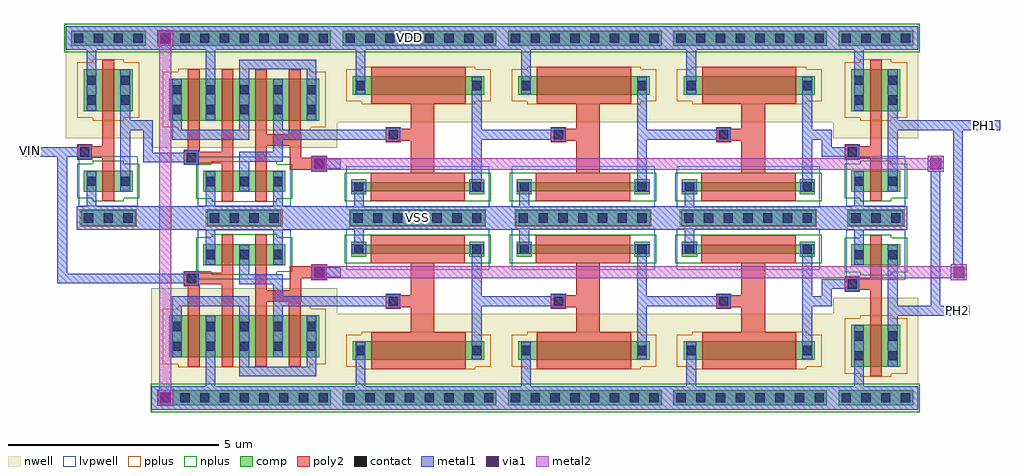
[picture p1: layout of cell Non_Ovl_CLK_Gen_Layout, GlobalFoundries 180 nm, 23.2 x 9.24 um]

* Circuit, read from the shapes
.subckt Non_Ovl_CLK_Gen_Layout PH1 PH2 VDD VIN VSS
XM1 NOR_Layout_2/A VIN VSS VSS nfet_03v3 w=0.5u l=0.28u
XM2 Inv_16x_Layout_3/IN VIN VSS VSS nfet_03v3 w=0.5u l=0.28u
XM3 Inv_16x_Layout_4/IN NOR_Layout_2/A VSS VSS nfet_03v3 w=0.5u l=0.28u
XM4 VSS PH1 Inv_16x_Layout_3/IN VSS nfet_03v3 w=0.5u l=0.28u
XM5 VSS PH2 Inv_16x_Layout_4/IN VSS nfet_03v3 w=0.5u l=0.28u
XM6 Inv_16x_Layout_5/IN Inv_16x_Layout_3/IN VSS VSS nfet_03v3 w=0.22u l=2.24u
XM7 Inv_16x_Layout_6/IN Inv_16x_Layout_4/IN VSS VSS nfet_03v3 w=0.22u l=2.24u
XM8 Inv_16x_Layout_7/IN Inv_16x_Layout_5/IN VSS VSS nfet_03v3 w=0.22u l=2.24u
XM9 Inv_16x_Layout_8/IN Inv_16x_Layout_6/IN VSS VSS nfet_03v3 w=0.22u l=2.24u
XM10 Inverter_Layout_9/IN Inv_16x_Layout_7/IN VSS VSS nfet_03v3 w=0.22u l=2.24u
XM11 Inverter_Layout_10/IN Inv_16x_Layout_8/IN VSS VSS nfet_03v3 w=0.22u l=2.24u
XM12 PH2 Inverter_Layout_9/IN VSS VSS nfet_03v3 w=0.5u l=0.28u
XM13 PH1 Inverter_Layout_10/IN VSS VSS nfet_03v3 w=0.5u l=0.28u
XM14 NOR_Layout_2/A VIN VDD VDD pfet_03v3 w=1u l=0.28u
XM15 VDD VIN NOR_Layout_1/SD1 VDD pfet_03v3 w=1u l=0.28u m=2
XM16 VDD NOR_Layout_2/A NOR_Layout_2/SD1 VDD pfet_03v3 w=1u l=0.28u m=2
XM17 Inv_16x_Layout_3/IN PH1 NOR_Layout_1/SD1 VDD pfet_03v3 w=1u l=0.28u m=2
XM18 Inv_16x_Layout_4/IN PH2 NOR_Layout_2/SD1 VDD pfet_03v3 w=1u l=0.28u m=2
XM19 Inv_16x_Layout_5/IN Inv_16x_Layout_3/IN VDD VDD pfet_03v3 w=0.44u l=2.24u
XM20 Inv_16x_Layout_6/IN Inv_16x_Layout_4/IN VDD VDD pfet_03v3 w=0.44u l=2.24u
XM21 Inv_16x_Layout_7/IN Inv_16x_Layout_5/IN VDD VDD pfet_03v3 w=0.44u l=2.24u
XM22 Inv_16x_Layout_8/IN Inv_16x_Layout_6/IN VDD VDD pfet_03v3 w=0.44u l=2.24u
XM23 Inverter_Layout_9/IN Inv_16x_Layout_7/IN VDD VDD pfet_03v3 w=0.44u l=2.24u
XM24 Inverter_Layout_10/IN Inv_16x_Layout_8/IN VDD VDD pfet_03v3 w=0.44u l=2.24u
XM25 PH2 Inverter_Layout_9/IN VDD VDD pfet_03v3 w=1u l=0.28u
XM26 PH1 Inverter_Layout_10/IN VDD VDD pfet_03v3 w=1u l=0.28u
.ends

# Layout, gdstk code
import gdstk
lib = gdstk.Library(unit=1e-6, precision=1e-09)
def R(c, l, rs):  # rectangles x0, y0, x1, y1
    for r in rs: c.add(gdstk.rectangle(r[:2], r[2:], *l))
def A(c, l, x, y, w, h, nx, ny, dx, dy):  # array of equal rectangles
    R(c, l, [(x+i*dx, y+j*dy, x+i*dx+w, y+j*dy+h) for i in range(nx) for j in range(ny)])
nwell = (21, 0)
comp = (22, 0)
poly2 = (30, 0)
pplus = (31, 0)
nplus = (32, 0)
contact = (33, 0)
metal1 = (34, 0)
via1 = (35, 0)
metal2 = (36, 0)
lvpwell = (204, 0)

pmos_3p3_mnvuar = lib.new_cell('pmos_3p3_MNVUAR')
R(pmos_3p3_mnvuar, nwell, [(-1.01,-1.15,1.01,1.15)])
R(pmos_3p3_mnvuar, comp, [(-0.58,-0.5,0.58,0.5)])
R(pmos_3p3_mnvuar, poly2, [(-0.14,-0.72,0.14,0.72)])
R(pmos_3p3_mnvuar, pplus, [(-0.37,-0.73,0.37,-0.66), (-0.74,-0.66,0.74,0.66), (-0.37,0.66,0.37,0.73)])
R(pmos_3p3_mnvuar, contact, [(-0.51,-0.345,-0.29,-0.125), (0.29,-0.345,0.51,-0.125), (-0.51,0.125,-0.29,0.345), (0.29,0.125,0.51,0.345)])
R(pmos_3p3_mnvuar, metal1, [(-0.515,-0.49,-0.285,0.49), (0.285,-0.49,0.515,0.49)])

nfet_03v3_nulyt4 = lib.new_cell('nfet_03v3_NULYT4')
R(nfet_03v3_nulyt4, comp, [(-0.58,-0.25,0.58,0.25)])
R(nfet_03v3_nulyt4, poly2, [(-0.14,-0.47,0.14,0.47)])
R(nfet_03v3_nulyt4, nplus, [(-0.37,-0.48,0.37,-0.41), (-0.74,-0.41,0.74,0.41), (-0.37,0.41,0.37,0.48)])
R(nfet_03v3_nulyt4, contact, [(-0.51,-0.11,-0.29,0.11), (0.29,-0.11,0.51,0.11)])
R(nfet_03v3_nulyt4, metal1, [(-0.515,-0.24,-0.285,0.24), (0.285,-0.24,0.515,0.24)])
R(nfet_03v3_nulyt4, lvpwell, [(-0.7,-0.59,0.7,0.59)])

inverter_layout = lib.new_cell('Inverter_Layout')
R(inverter_layout, nwell, [(-0.31,3.655,1.71,4.28)])
R(inverter_layout, comp, [(0.05,-0.52,1.35,-0.16), (-0.185,3.755,1.585,4.115)])
R(inverter_layout, poly2, [(0.56,0.865,0.84,1.09), (-0.04,1.05,0.32,1.09), (-0.04,1.09,0.84,1.37), (-0.04,1.37,0.32,1.41), (0.56,1.37,0.84,2.23)])
R(inverter_layout, pplus, [(0.02,-0.55,1.38,-0.13)])
R(inverter_layout, nplus, [(-0.345,3.595,1.745,4.275)])
A(inverter_layout, contact, 0.12, -0.45, 0.22, 0.22, 3, 1, 0.47, 0)
A(inverter_layout, contact, -0.115, 3.825, 0.22, 0.22, 4, 1, 0.47, 0)
R(inverter_layout, contact, [(0.03,1.12,0.25,1.34)])
R(inverter_layout, metal1, [(-0.05,-0.62,1.45,-0.06), (0.185,-0.06,0.415,0.49), (0.985,0.705,1.215,1.75), (-0.03,1.06,0.31,1.115), (-0.3,1.115,0.31,1.345), (-0.03,1.345,0.31,1.4), (0.985,1.75,1.7,1.98), (0.985,1.98,1.215,2.35), (0.185,3.045,0.415,3.655), (-0.31,3.655,1.71,4.215)])
inverter_layout.add(gdstk.Reference(pmos_3p3_mnvuar, (0.7,2.7)))
inverter_layout.add(gdstk.Reference(nfet_03v3_nulyt4, (0.7,0.535)))
inverter_layout.add(gdstk.Label('IN', (-0.2,1.23), layer=34, texttype=10))
inverter_layout.add(gdstk.Label('OUT', (1.395,1.865), layer=34, texttype=10))
inverter_layout.add(gdstk.Label('VSS', (0.7,-0.34), layer=22, texttype=0))
inverter_layout.add(gdstk.Label('VDD', (0.7,3.95), layer=34, texttype=10))

pmos_3p3_mevuar = lib.new_cell('pmos_3p3_MEVUAR')
R(pmos_3p3_mevuar, nwell, [(-1.41,-1.15,1.41,1.15)])
R(pmos_3p3_mevuar, comp, [(-0.98,-0.5,0.98,0.5)])
R(pmos_3p3_mevuar, poly2, [(-0.54,-0.72,-0.26,0.72), (0.26,-0.72,0.54,0.72)])
R(pmos_3p3_mevuar, pplus, [(-0.77,-0.73,0.77,-0.66), (-1.14,-0.66,1.14,0.66), (-0.77,0.66,0.77,0.73)])
A(pmos_3p3_mevuar, contact, -0.91, -0.345, 0.22, 0.22, 3, 2, 0.8, 0.47)
A(pmos_3p3_mevuar, metal1, -0.915, -0.49, 0.23, 0.98, 3, 1, 0.8, 0)

nmos_3p3_gggst2_0 = lib.new_cell('nmos_3p3_GGGST2#0')
R(nmos_3p3_gggst2_0, comp, [(-0.58,-0.25,0.58,0.25)])
R(nmos_3p3_gggst2_0, poly2, [(-0.14,-0.47,0.14,0.47)])
R(nmos_3p3_gggst2_0, nplus, [(-0.37,-0.48,0.37,-0.41), (-0.74,-0.41,0.74,0.41), (-0.37,0.41,0.37,0.48)])
R(nmos_3p3_gggst2_0, contact, [(-0.51,-0.11,-0.29,0.11), (0.29,-0.11,0.51,0.11)])
R(nmos_3p3_gggst2_0, metal1, [(-0.515,-0.24,-0.285,0.24), (0.285,-0.24,0.515,0.24)])
R(nmos_3p3_gggst2_0, lvpwell, [(-0.7,-0.59,0.7,0.59)])

nor_layout = lib.new_cell('NOR_Layout')
R(nor_layout, nwell, [(0,3.685,4.42,4.34)])
R(nor_layout, comp, [(1.325,-0.46,3.095,-0.1), (0.15,3.815,4.27,4.175)])
R(nor_layout, poly2, [(1.67,0.81,1.95,1.02), (2.47,0.81,2.75,1.435), (3.81,0.825,4.17,0.87), (3.29,0.87,4.17,1.15), (0.775,0.98,1.135,1.02), (0.775,1.02,1.95,1.3), (3.29,1.15,3.57,1.435), (3.81,1.15,4.17,1.19), (0.775,1.3,1.15,1.34), (1.67,1.3,1.95,2.2), (0.87,1.34,1.15,2.23), (2.47,1.435,3.57,1.715), (2.47,1.715,2.75,2.2), (3.27,1.715,3.55,2.23)])
R(nor_layout, pplus, [(1.295,-0.49,3.125,-0.07), (2.18,1.805,2.24,1.875), (2.18,3.195,2.24,3.265)])
R(nor_layout, nplus, [(2.18,0.11,2.24,0.18), (2.18,1,2.24,1.07), (-0.01,3.655,4.43,4.335)])
A(nor_layout, contact, 1.395, -0.39, 0.22, 0.22, 4, 1, 0.47, 0)
A(nor_layout, contact, 0.22, 3.885, 0.22, 0.22, 9, 1, 0.47, 0)
R(nor_layout, contact, [(3.88,0.895,4.1,1.115), (0.845,1.05,1.065,1.27)])
R(nor_layout, metal1, [(1.11,-0.56,3.31,0), (1.295,0,1.525,0.49), (2.895,0,3.125,0.49), (2.095,0.685,2.325,1.06), (3.82,0.835,4.16,0.89), (3.82,0.89,4.51,1.125), (0.785,0.99,1.125,1.045), (0.565,1.045,1.125,1.275), (2.095,1.06,3.125,1.29), (3.82,1.125,4.16,1.18), (0.785,1.275,1.125,1.33), (2.895,1.29,3.125,1.585), (0.495,1.585,2.325,1.815), (2.895,1.585,3.565,1.815), (0.495,1.815,0.725,2.35), (2.095,1.815,2.325,2.32), (2.895,1.815,3.125,2.39), (1.295,2.88,1.525,3.715), (2.095,2.88,2.325,3.255), (3.695,2.89,3.925,3.255), (2.095,3.255,3.925,3.485), (0,3.715,4.42,4.275)])
nor_layout.add(gdstk.Reference(pmos_3p3_mevuar, (1.41,2.535)))
nor_layout.add(gdstk.Reference(pmos_3p3_mevuar, (3.01,2.535)))
nor_layout.add(gdstk.Reference(nmos_3p3_gggst2_0, (1.81,0.59)))
nor_layout.add(gdstk.Reference(nmos_3p3_gggst2_0, (2.61,0.59)))
nor_layout.add(gdstk.Label('A', (0.615,1.16), layer=34, texttype=10))
nor_layout.add(gdstk.Label('B', (4.44,1.01), layer=34, texttype=10))
nor_layout.add(gdstk.Label('OUT', (3.405,1.7), layer=34, texttype=10))
nor_layout.add(gdstk.Label('VDD', (2.21,3.995), layer=22, texttype=0))
nor_layout.add(gdstk.Label('VSS', (2.185,-0.28), layer=34, texttype=10))
nor_layout.add(gdstk.Label('SD1', (1.41,1.705), layer=34, texttype=10))

pmos_3p3_hyfkq3 = lib.new_cell('pmos_3p3_HYFKQ3')
R(pmos_3p3_hyfkq3, nwell, [(-1.99,-0.87,1.99,0.87)])
R(pmos_3p3_hyfkq3, comp, [(-1.56,-0.22,1.56,0.22)])
R(pmos_3p3_hyfkq3, poly2, [(-1.12,-0.44,1.12,0.44)])
R(pmos_3p3_hyfkq3, pplus, [(-1.35,-0.45,1.35,-0.38), (-1.72,-0.38,1.72,0.38), (-1.35,0.38,1.35,0.45)])
R(pmos_3p3_hyfkq3, contact, [(-1.49,-0.11,-1.27,0.11), (1.27,-0.11,1.49,0.11)])
R(pmos_3p3_hyfkq3, metal1, [(-1.495,-0.21,-1.265,0.21), (1.265,-0.21,1.495,0.21)])

nmos_3p3_t3qpfj = lib.new_cell('nmos_3p3_T3QPFJ')
R(nmos_3p3_t3qpfj, comp, [(-1.58,-0.18,-1.22,-0.11), (1.22,-0.18,1.58,-0.11), (-1.58,-0.11,1.58,0.11), (-1.58,0.11,-1.22,0.18), (1.22,0.11,1.58,0.18)])
R(nmos_3p3_t3qpfj, poly2, [(-1.12,-0.33,1.12,0.33)])
R(nmos_3p3_t3qpfj, nplus, [(-1.74,-0.34,1.74,0.34)])
R(nmos_3p3_t3qpfj, contact, [(-1.51,-0.11,-1.29,0.11), (1.29,-0.11,1.51,0.11)])
R(nmos_3p3_t3qpfj, metal1, [(-1.57,-0.115,-1.23,0.115), (1.23,-0.115,1.57,0.115)])
R(nmos_3p3_t3qpfj, lvpwell, [(-1.7,-0.485,1.7,0.485)])

inv_16x_layout = lib.new_cell('Inv_16x_Layout')
R(inv_16x_layout, nwell, [(-0.29,2.79,-0.285,3.415), (-0.285,3.74,3.69,3.765), (-0.29,3.765,3.69,4.365)])
R(inv_16x_layout, comp, [(0.08,-0.435,3.28,-0.075), (-0.105,3.84,3.545,4.2)])
R(inv_16x_layout, poly2, [(1.515,0.815,2.075,1.585), (0.915,1.545,1.275,1.585), (0.915,1.585,2.075,1.865), (0.915,1.865,1.275,1.905), (1.515,1.865,2.075,2.84)])
R(inv_16x_layout, pplus, [(0.05,-0.465,3.29,-0.455), (0.05,-0.455,3.3,-0.055), (0.05,-0.055,3.29,-0.045)])
R(inv_16x_layout, nplus, [(-0.265,3.68,3.705,4.36)])
A(inv_16x_layout, contact, 0.15, -0.365, 0.22, 0.22, 7, 1, 0.47, 0)
A(inv_16x_layout, contact, -0.035, 3.91, 0.22, 0.22, 8, 1, 0.47, 0)
R(inv_16x_layout, contact, [(0.985,1.615,1.205,1.835)])
R(inv_16x_layout, metal1, [(-0.02,-0.535,3.38,0.025), (0.165,0.025,0.395,0.6), (2.965,0.455,3.195,1.61), (0.925,1.555,1.265,1.575), (0.915,1.575,1.265,1.61), (0.585,1.61,1.265,1.84), (2.965,1.61,3.645,1.84), (0.915,1.84,1.265,1.895), (2.965,1.84,3.195,2.92), (0.205,3.05,0.435,3.74), (-0.29,3.74,3.69,4.3)])
inv_16x_layout.add(gdstk.Reference(pmos_3p3_hyfkq3, (1.7,2.895)))
inv_16x_layout.add(gdstk.Reference(nmos_3p3_t3qpfj, (1.68,0.485)))
inv_16x_layout.add(gdstk.Label('IN', (0.715,1.725), layer=34, texttype=10))
inv_16x_layout.add(gdstk.Label('OUT', (3.255,1.725), layer=34, texttype=10))
inv_16x_layout.add(gdstk.Label('VSS', (1.67,-0.255), layer=22, texttype=0))
inv_16x_layout.add(gdstk.Label('VDD', (1.485,4.02), layer=22, texttype=0))

non_ovl_clk_gen_layout = lib.new_cell('Non_Ovl_CLK_Gen_Layout')
R(non_ovl_clk_gen_layout, nwell, [(11.84,-4.34,11.85,-2), (-4.375,2.17,-4.365,4.9), (11.84,2.56,11.85,4.9)])
R(non_ovl_clk_gen_layout, metal1, [(-4.365,-4.275,13.87,-3.715), (13.62,-2.04,15.08,-1.81), (-1.03,-1.815,1.12,-1.585), (3.705,-1.815,5.14,-1.585), (7.635,-1.815,9.07,-1.585), (11.575,-1.815,11.805,-1.405), (14.165,-1.81,14.395,1.375), (11.575,-1.405,12.12,-1.175), (-6.595,-1.275,-3.585,-1.045), (14.645,-1.2,15.025,-0.82), (-0.505,-1.14,-0.245,-0.88), (-6.595,-1.045,-6.365,1.735), (14.7,-0.82,14.93,2.37), (-6.135,0,13.61,0.56), (14.09,1.375,14.47,1.755), (-0.505,1.435,-0.245,1.695), (-4.56,1.605,-3.57,1.835), (-7.39,1.735,-6.135,1.965), (11.575,1.735,12.01,1.965), (-4.56,1.835,-4.33,2.605), (11.575,1.965,11.805,2.375), (-1.06,2.145,1.1,2.375), (3.705,2.145,5.135,2.375), (7.635,2.145,9.065,2.375), (13.63,2.37,15.81,2.6), (-6.395,4.275,13.87,4.835)])
R(non_ovl_clk_gen_layout, via1, [(-4.165,-4.125,-3.905,-3.865), (-0.505,-1.14,-0.245,-0.88), (14.705,-1.14,14.965,-0.88), (-0.505,1.435,-0.245,1.695), (14.15,1.435,14.41,1.695), (-4.165,4.425,-3.905,4.685)])
R(non_ovl_clk_gen_layout, metal2, [(-4.225,-4.185,-3.845,-3.805), (-4.175,-3.805,-3.895,4.365), (-0.565,-1.2,-0.185,-1.15), (14.645,-1.2,15.025,-1.15), (-0.565,-1.15,15.025,-0.87), (-0.565,-0.87,-0.185,-0.82), (14.645,-0.87,15.025,-0.82), (-0.565,1.375,-0.185,1.425), (14.09,1.375,14.47,1.425), (-0.565,1.425,14.47,1.705), (-0.565,1.705,-0.185,1.755), (14.09,1.705,14.47,1.755), (-4.225,4.365,-3.845,4.745)])
non_ovl_clk_gen_layout.add(gdstk.Reference(inverter_layout, (-6.085,0.62)))
non_ovl_clk_gen_layout.add(gdstk.Reference(nor_layout, (-4.365,0), x_reflection=True))
non_ovl_clk_gen_layout.add(gdstk.Reference(nor_layout, (-4.365,0.56)))
non_ovl_clk_gen_layout.add(gdstk.Reference(inv_16x_layout, (0.29,0.025), x_reflection=True))
non_ovl_clk_gen_layout.add(gdstk.Reference(inv_16x_layout, (0.29,0.535)))
non_ovl_clk_gen_layout.add(gdstk.Reference(inv_16x_layout, (4.22,0.025), x_reflection=True))
non_ovl_clk_gen_layout.add(gdstk.Reference(inv_16x_layout, (4.22,0.535)))
non_ovl_clk_gen_layout.add(gdstk.Reference(inv_16x_layout, (8.15,0.025), x_reflection=True))
non_ovl_clk_gen_layout.add(gdstk.Reference(inv_16x_layout, (8.15,0.535)))
non_ovl_clk_gen_layout.add(gdstk.Reference(inverter_layout, (12.16,-0.06), x_reflection=True))
non_ovl_clk_gen_layout.add(gdstk.Reference(inverter_layout, (12.16,0.62)))
non_ovl_clk_gen_layout.add(gdstk.Label('VIN', (-7.24,1.885), layer=34, texttype=10))
non_ovl_clk_gen_layout.add(gdstk.Label('PH1', (15.45,2.485), layer=34, texttype=10))
non_ovl_clk_gen_layout.add(gdstk.Label('PH2', (14.81,-1.92), layer=34, texttype=10))
non_ovl_clk_gen_layout.add(gdstk.Label('VSS', (1.96,0.29), layer=34, texttype=10))
non_ovl_clk_gen_layout.add(gdstk.Label('VDD', (1.775,4.56), layer=34, texttype=10))

lib.write_gds('Non_Ovl_CLK_Gen_Layout.gds')
